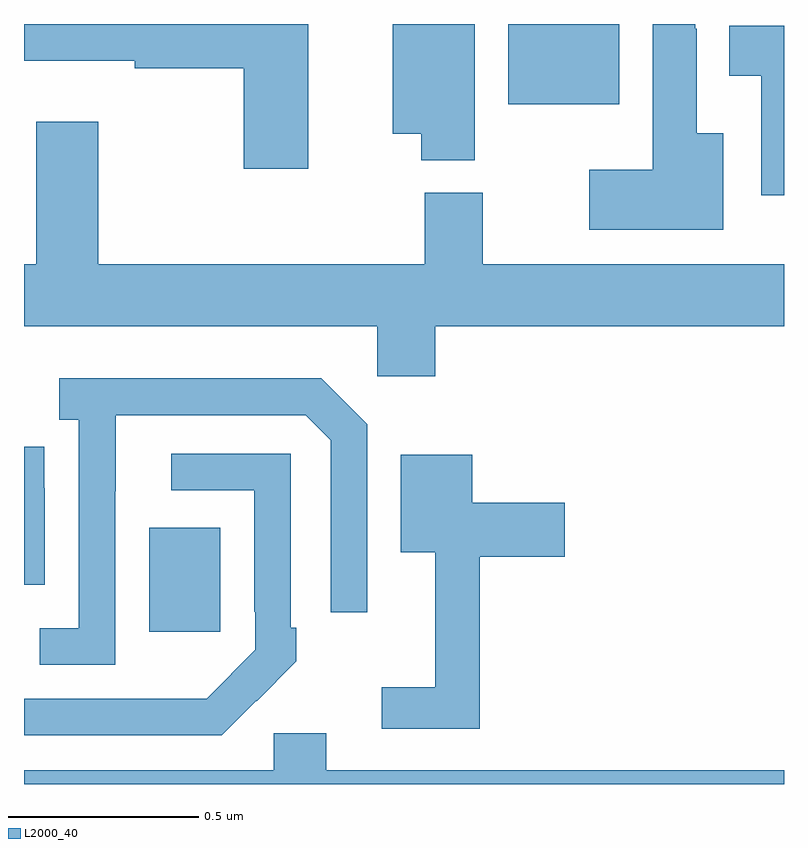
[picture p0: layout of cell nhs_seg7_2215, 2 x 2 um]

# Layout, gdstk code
import gdstk
lib = gdstk.Library(unit=1e-6, precision=1e-09)
def R(c, l, rs):  # rectangles x0, y0, x1, y1
    for r in rs: c.add(gdstk.rectangle(r[:2], r[2:], *l))
def P(c, l, *ps):  # polygons
    for p in ps: c.add(gdstk.Polygon(p, *l))
L2000_40 = (2000, 40)

nhs_seg7_2215 = lib.new_cell('nhs_seg7_2215')
R(nhs_seg7_2215, L2000_40, [(141.329,1078.401,141.517,1078.675), (142.274,1079.789,142.567,1080)])
P(nhs_seg7_2215, L2000_40, [(142.186,1080),(141.971,1080),(141.971,1079.711),(142.045,1079.711),(142.045,1079.641),(142.186,1079.641)],
  [(141.748,1080),(141,1080),(141,1079.903),(141.292,1079.903),(141.292,1079.884),(141.578,1079.884),(141.578,1079.619),(141.748,1079.619)],
  [(142.84,1079.713),(142.771,1079.713),(142.771,1079.987),(142.767,1079.987),(142.767,1080),(142.655,1080),(142.655,1079.617),(142.488,1079.617),(142.488,1079.459),(142.84,1079.459)],
  [(143,1079.995),(142.856,1079.995),(142.856,1079.864),(142.94,1079.864),(142.94,1079.55),(143,1079.55)],
  [(142.082,1079.204),(143,1079.204),(143,1079.368),(142.207,1079.368),(142.207,1079.556),(142.055,1079.556),(142.055,1079.368),(141.196,1079.368),(141.196,1079.743),(141.032,1079.743),(141.032,1079.368),(141,1079.368),(141,1079.204),(141.93,1079.204),(141.93,1079.073),(142.082,1079.073)],
  [(141.24,1078.771),(141.241,1078.771),(141.241,1078.971),(141.741,1078.971),(141.807,1078.905),(141.807,1078.452),(141.903,1078.452),(141.903,1078.947),(141.782,1079.068),(141.093,1079.068),(141.093,1078.958),(141.144,1078.958),(141.144,1078.41),(141.042,1078.41),(141.042,1078.314),(141.24,1078.314)],
  [(141.054,1078.778),(141.053,1078.778),(141.053,1078.887),(141,1078.887),(141,1078.524),(141.054,1078.524)],
  [(141.611,1078.219),(141.612,1078.218),(141.717,1078.323),(141.717,1078.411),(141.702,1078.411),(141.702,1078.869),(141.387,1078.869),(141.387,1078.773),(141.606,1078.773),(141.606,1078.453),(141.609,1078.453),(141.609,1078.353),(141.481,1078.225),(141.377,1078.225),(141.377,1078.224),(141,1078.224),(141,1078.128),(141.52,1078.128)],
  [(142.199,1078.598),(142.423,1078.598),(142.423,1078.74),(142.18,1078.74),(142.18,1078.867),(141.992,1078.867),(141.992,1078.61),(142.082,1078.61),(142.082,1078.255),(141.942,1078.255),(141.942,1078.146),(142.199,1078.146)],
  [(143,1078.036),(141.796,1078.036),(141.796,1078.134),(141.657,1078.134),(141.657,1078.036),(141,1078.036),(141,1078),(143,1078)])

lib.write_gds('nhs_seg7_2215.gds')
